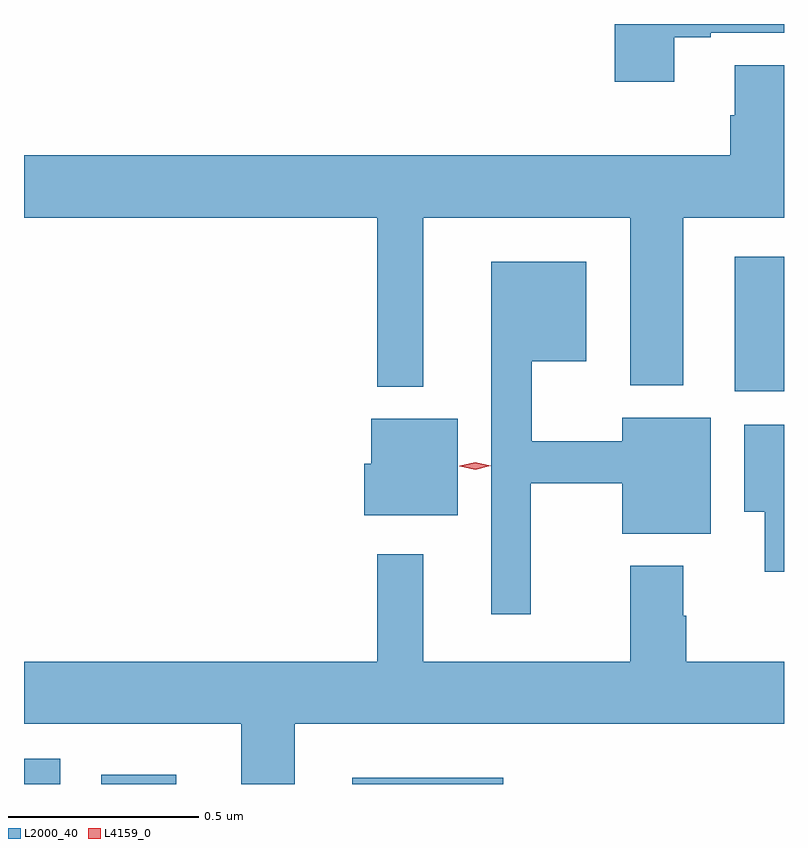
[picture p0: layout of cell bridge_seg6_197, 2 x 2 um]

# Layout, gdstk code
import gdstk
lib = gdstk.Library(unit=1e-6, precision=1e-09)
def R(c, l, rs):  # rectangles x0, y0, x1, y1
    for r in rs: c.add(gdstk.rectangle(r[:2], r[2:], *l))
def P(c, l, *ps):  # polygons
    for p in ps: c.add(gdstk.Polygon(p, *l))
L2000_40 = (2000, 40)
L4159_0 = (4159, 0)

bridge_seg6_197 = lib.new_cell('bridge_seg6_197')
R(bridge_seg6_197, L2000_40, [(304.974,928.53,305.07,928.596), (305.177,928.53,305.374,928.555), (305.838,928.53,306.235,928.546), (306.845,929.564,306.974,929.917)])
P(bridge_seg6_197, L2000_40, [(306.685,930.495),(306.781,930.495),(306.781,930.507),(306.974,930.507),(306.974,930.53),(306.529,930.53),(306.529,930.378),(306.685,930.378)],
  [(306.025,930.02),(306.569,930.02),(306.569,929.579),(306.709,929.579),(306.709,930.02),(306.974,930.02),(306.974,930.422),(306.845,930.422),(306.845,930.29),(306.833,930.29),(306.833,930.184),(304.974,930.184),(304.974,930.02),(305.904,930.02),(305.904,929.576),(306.025,929.576)],
  [(306.307,929.322),(306.548,929.322),(306.548,929.189),(306.781,929.189),(306.781,929.494),(306.548,929.494),(306.548,929.432),(306.31,929.432),(306.31,929.642),(306.454,929.642),(306.454,929.905),(306.203,929.905),(306.203,928.977),(306.307,928.977)],
  [(306.115,929.491),(305.888,929.491),(305.888,929.373),(305.87,929.373),(305.87,929.237),(306.115,929.237)],
  [(306.974,929.476),(306.869,929.476),(306.869,929.246),(306.923,929.246),(306.923,929.088),(306.974,929.088)],
  [(305.686,928.688),(306.974,928.688),(306.974,928.852),(306.717,928.852),(306.717,928.973),(306.709,928.973),(306.709,929.104),(306.569,929.104),(306.569,928.852),(306.025,928.852),(306.025,929.134),(305.904,929.134),(305.904,928.852),(304.974,928.852),(304.974,928.688),(305.546,928.688),(305.546,928.53),(305.686,928.53)])
P(bridge_seg6_197, L4159_0, [(306.161,929.357),(306.121,929.366),(306.12,929.366),(306.121,929.367),(306.161,929.377),(306.202,929.367),(306.202,929.367),(306.202,929.367)])

lib.write_gds('bridge_seg6_197.gds')
